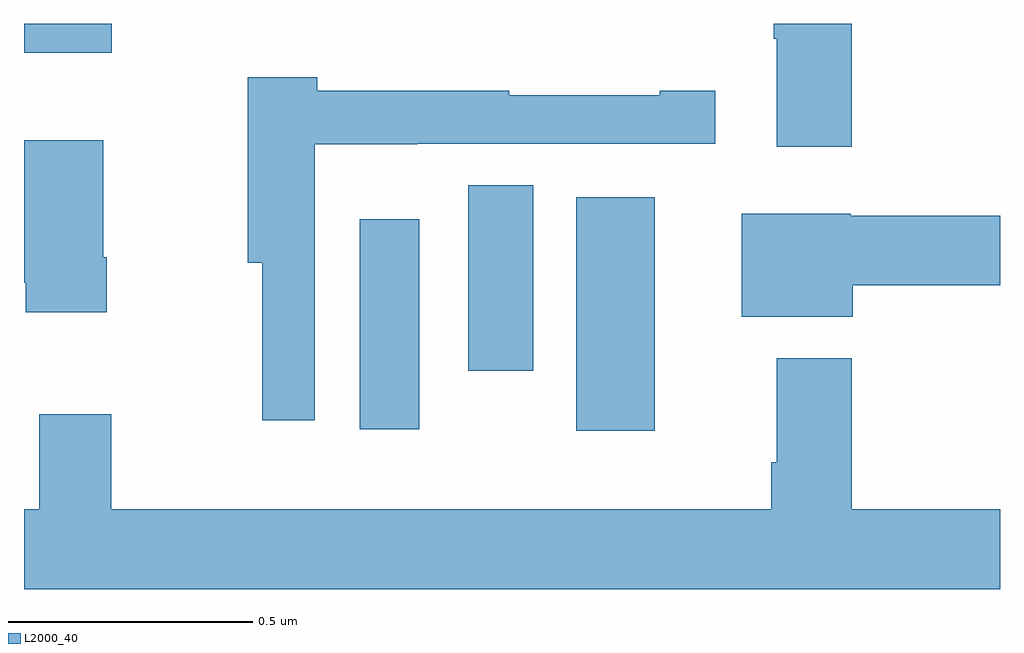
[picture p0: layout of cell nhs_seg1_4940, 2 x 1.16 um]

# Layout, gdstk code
import gdstk
lib = gdstk.Library(unit=1e-6, precision=1e-09)
def R(c, l, rs):  # rectangles x0, y0, x1, y1
    for r in rs: c.add(gdstk.rectangle(r[:2], r[2:], *l))
def P(c, l, *ps):  # polygons
    for p in ps: c.add(gdstk.Polygon(p, *l))
L2000_40 = (2000, 40)

nhs_seg1_4940 = lib.new_cell('nhs_seg1_4940')
R(nhs_seg1_4940, L2000_40, [(173.132,577.365,173.293,577.843), (172.688,577.368,172.81,577.798), (172.91,577.488,173.044,577.868), (172,578.139,172.18,578.199)])
P(nhs_seg1_4940, L2000_40, [(173.696,578.199),(173.536,578.199),(173.536,578.168),(173.543,578.168),(173.543,577.947),(173.696,577.947)],
  [(172.596,577.952),(172.806,577.952),(172.806,577.953),(173.416,577.953),(173.416,578.062),(173.303,578.062),(173.303,578.052),(172.994,578.052),(172.994,578.062),(172.601,578.062),(172.601,578.089),(172.459,578.089),(172.459,577.709),(172.488,577.709),(172.488,577.386),(172.596,577.386)],
  [(172.17,577.72),(172.162,577.72),(172.162,577.96),(172,577.96),(172,577.668),(172.004,577.668),(172.004,577.608),(172.17,577.608)],
  [(173.698,577.663),(174,577.663),(174,577.805),(173.694,577.805),(173.694,577.81),(173.471,577.81),(173.471,577.598),(173.698,577.598)],
  [(174,577.204),(173.696,577.204),(173.696,577.513),(173.543,577.513),(173.543,577.3),(173.531,577.3),(173.531,577.204),(172.179,577.204),(172.179,577.399),(172.031,577.399),(172.031,577.204),(172,577.204),(172,577.04),(174,577.04)])

lib.write_gds('nhs_seg1_4940.gds')
